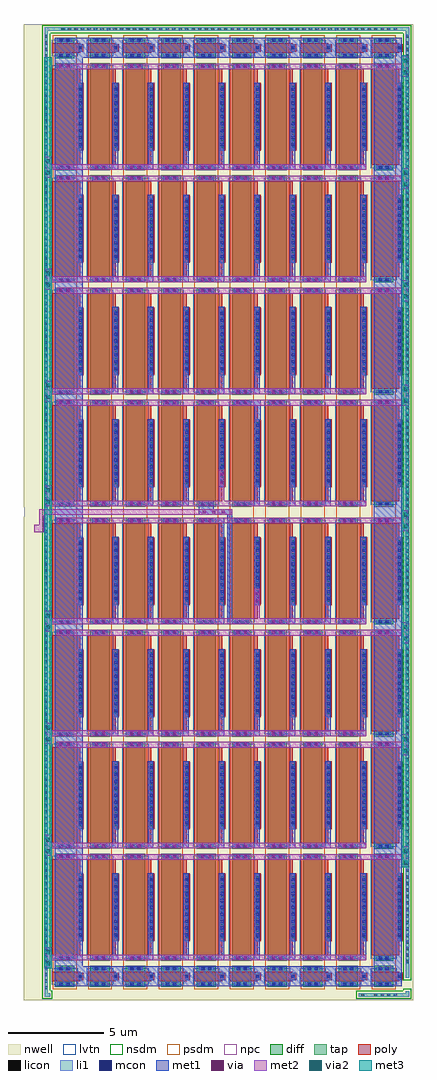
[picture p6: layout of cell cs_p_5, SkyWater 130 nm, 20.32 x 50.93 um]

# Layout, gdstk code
from math import pi, radians
import gdstk
lib = gdstk.Library(unit=1e-6, precision=1e-09)
def R(c, l, rs):  # rectangles x0, y0, x1, y1
    for r in rs: c.add(gdstk.rectangle(r[:2], r[2:], *l))
def A(c, l, x, y, w, h, nx, ny, dx, dy):  # array of equal rectangles
    R(c, l, [(x+i*dx, y+j*dy, x+i*dx+w, y+j*dy+h) for i in range(nx) for j in range(ny)])
nwell = (64, 20)
diff = (65, 20)
tap = (65, 44)
poly = (66, 20)
licon = (66, 44)
li1 = (67, 20)
mcon = (67, 44)
met1 = (68, 20)
via = (68, 44)
met2 = (69, 20)
via2 = (69, 44)
met3 = (70, 20)
nsdm = (93, 44)
psdm = (94, 20)
npc = (95, 20)
lvtn = (125, 44)

sky130_fd_pr__pfet_01v8_ = lib.new_cell('sky130_fd_pr__pfet_01v8_lvt_MTZNSY')
R(sky130_fd_pr__pfet_01v8_, nwell, [(-0.72,-0.99,0.72,0.82)])
R(sky130_fd_pr__pfet_01v8_, diff, [(-0.54,-0.68,0.54,0.32)])
R(sky130_fd_pr__pfet_01v8_, poly, [(-0.25,-0.81,0.25,0.64), (-0.2,0.64,0.2,0.805)])
R(sky130_fd_pr__pfet_01v8_, licon, [(-0.48,-0.435,-0.31,-0.265), (0.31,-0.435,0.48,-0.265), (-0.48,-0.095,-0.31,0.075), (0.31,-0.095,0.48,0.075), (-0.085,0.555,0.085,0.725)])
R(sky130_fd_pr__pfet_01v8_, li1, [(-0.48,-0.57,-0.31,0.21), (0.31,-0.57,0.48,0.21), (-0.2,0.555,0.2,0.725)])
R(sky130_fd_pr__pfet_01v8_, mcon, [(-0.48,-0.445,-0.31,-0.275), (0.31,-0.445,0.48,-0.275), (-0.48,-0.085,-0.31,0.085), (0.31,-0.085,0.48,0.085), (-0.085,0.555,0.085,0.725)])
R(sky130_fd_pr__pfet_01v8_, met1, [(-0.51,-0.55,-0.28,0.19), (0.28,-0.55,0.51,0.19), (-0.18,0.525,0.18,0.755)])
R(sky130_fd_pr__pfet_01v8_, psdm, [(-0.665,-0.805,0.665,0.445)])
R(sky130_fd_pr__pfet_01v8_, npc, [(-0.185,0.455,0.185,0.825)])
R(sky130_fd_pr__pfet_01v8_, lvtn, [(-0.43,-0.86,0.43,0.5)])

c_sky130_fd_pr__pfet_01v8_ = lib.new_cell('sky130_fd_pr__pfet_01v8_lvt_KVZN99')
R(c_sky130_fd_pr__pfet_01v8_, nwell, [(-2.97,-0.99,2.97,0.82)])
R(c_sky130_fd_pr__pfet_01v8_, diff, [(-2.79,-0.68,2.79,0.32)])
R(c_sky130_fd_pr__pfet_01v8_, poly, [(-2.5,-0.81,2.5,0.64), (-1.775,0.64,1.775,0.805)])
A(c_sky130_fd_pr__pfet_01v8_, licon, -1.615, 0.555, 0.17, 0.17, 10, 1, 0.34, 0)
R(c_sky130_fd_pr__pfet_01v8_, licon, [(-2.73,-0.435,-2.56,-0.265), (2.56,-0.435,2.73,-0.265), (-2.73,-0.095,-2.56,0.075), (2.56,-0.095,2.73,0.075)])
R(c_sky130_fd_pr__pfet_01v8_, li1, [(-2.73,-0.57,-2.56,0.21), (2.56,-0.57,2.73,0.21), (-1.775,0.555,1.775,0.725)])
A(c_sky130_fd_pr__pfet_01v8_, mcon, -1.525, 0.555, 0.17, 0.17, 9, 1, 0.36, 0)
R(c_sky130_fd_pr__pfet_01v8_, mcon, [(-2.73,-0.445,-2.56,-0.275), (2.56,-0.445,2.73,-0.275), (-2.73,-0.085,-2.56,0.085), (2.56,-0.085,2.73,0.085)])
R(c_sky130_fd_pr__pfet_01v8_, met1, [(-2.76,-0.55,-2.53,0.19), (2.53,-0.55,2.76,0.19), (-1.755,0.525,1.755,0.755)])
R(c_sky130_fd_pr__pfet_01v8_, psdm, [(-2.915,-0.805,2.915,0.445)])
R(c_sky130_fd_pr__pfet_01v8_, npc, [(-1.715,0.455,1.715,0.825)])
R(c_sky130_fd_pr__pfet_01v8_, lvtn, [(-2.68,-0.86,2.68,0.5)])

cs_p_5 = lib.new_cell('cs_p_5')
R(cs_p_5, nwell, [(-0.765,-2.065,19.55,23.15), (-0.75,23.15,19.55,23.65), (-0.765,23.65,19.55,48.865)])
R(cs_p_5, tap, [(0.315,-1.885,0.6,-1.715), (16.7,-1.885,19.335,-1.715), (0.315,-1.715,0.485,48.515), (19.165,-1.715,19.335,-1.615), (19.165,-0.905,19.335,48.515), (0.315,48.515,19.335,48.685)])
A(cs_p_5, licon, 17.51, -1.885, 0.17, 0.17, 4, 1, 0.34, 0)
A(cs_p_5, licon, 0.315, -1.505, 0.17, 0.17, 1, 72, 0, 0.34)
A(cs_p_5, licon, 19.165, -0.145, 0.17, 0.17, 1, 143, 0, 0.34)
A(cs_p_5, licon, 0.315, 23.655, 0.17, 0.17, 1, 73, 0, 0.34)
A(cs_p_5, licon, 1.19, 48.515, 0.17, 0.17, 52, 1, 0.34, 0)
R(cs_p_5, licon, [(16.83,-1.885,17,-1.715)])
R(cs_p_5, li1, [(0.315,-1.885,0.6,-1.715), (16.7,-1.885,19.335,-1.715), (0.315,-1.715,0.485,48.515), (19.165,-1.715,19.335,-1.615), (19.165,-0.905,19.335,48.515), (0.315,48.515,19.335,48.685)])
A(cs_p_5, met1, 2.7, 0, 1.45, 0.3, 8, 3, 1.85, 5.85)
A(cs_p_5, met1, 3.85, 0.3, 0.3, 4.25, 8, 3, 1.85, 5.85)
A(cs_p_5, met1, 2.8, 5.25, 0.8, 0.3, 8, 3, 1.85, 5.85)
A(cs_p_5, met1, 2.7, 17.55, 1.45, 0.3, 4, 1, 1.85, 0)
A(cs_p_5, met1, 11.95, 17.55, 1.45, 0.3, 3, 2, 1.85, 6.15)
A(cs_p_5, met1, 3.85, 17.85, 0.3, 4.25, 3, 2, 1.85, 6.15)
A(cs_p_5, met1, 13.1, 17.85, 0.3, 4.25, 3, 1, 1.85, 0)
A(cs_p_5, met1, 2.8, 22.8, 0.8, 0.3, 3, 1, 1.85, 0)
A(cs_p_5, met1, 12.05, 22.8, 0.8, 0.3, 3, 2, 1.85, 6.15)
A(cs_p_5, met1, 2.7, 23.7, 1.45, 0.3, 3, 1, 1.85, 0)
A(cs_p_5, met1, 11.25, 24, 0.3, 4.25, 4, 1, 1.85, 0)
A(cs_p_5, met1, 2.8, 28.95, 0.8, 0.3, 4, 1, 1.85, 0)
A(cs_p_5, met1, 2.7, 29.55, 1.45, 0.3, 8, 3, 1.85, 5.85)
A(cs_p_5, met1, 3.85, 29.85, 0.3, 4.25, 8, 3, 1.85, 5.85)
A(cs_p_5, met1, 2.8, 34.8, 0.8, 0.3, 8, 3, 1.85, 5.85)
R(cs_p_5, met1, [(0.85,-1.35,18.95,-0.3), (0.85,-0.3,2.3,47.1), (17.5,-0.3,18.95,47.1), (9.85,17.55,11,17.85), (9.4,17.85,9.7,22.8), (9.85,17.85,10.1,23.25), (11.25,18.55,11.55,22.1), (8.35,22.8,9.7,23.1), (10.6,22.8,11,23.1), (8.35,23.25,10.1,23.55), (8.35,23.55,9.15,24), (10.25,23.7,11.55,24), (9.4,24.7,9.7,28.25), (11.25,28.25,11.6,28.95), (10.2,28.95,11.6,29.25), (0.85,47.1,18.95,48.15)])
A(cs_p_5, via, 1.075, 5.325, 0.15, 0.15, 1, 4, 0, 5.85)
A(cs_p_5, via, 1.475, 5.325, 0.15, 0.15, 1, 4, 0, 5.85)
A(cs_p_5, via, 17.725, 5.325, 0.15, 0.15, 1, 4, 0, 5.85)
A(cs_p_5, via, 18.125, 5.325, 0.15, 0.15, 1, 4, 0, 5.85)
A(cs_p_5, via, 8.575, 23.325, 0.15, 0.15, 3, 1, 0.5, 0)
A(cs_p_5, via, 1.075, 29.025, 0.15, 0.15, 1, 4, 0, 5.85)
A(cs_p_5, via, 1.475, 29.025, 0.15, 0.15, 1, 4, 0, 5.85)
A(cs_p_5, via, 17.725, 29.025, 0.15, 0.15, 1, 4, 0, 5.85)
A(cs_p_5, via, 18.125, 29.025, 0.15, 0.15, 1, 4, 0, 5.85)
R(cs_p_5, via, [(2.925,0.075,3.075,0.225), (3.325,0.075,3.475,0.225), (4.775,0.075,4.925,0.225), (5.175,0.075,5.325,0.225), (6.625,0.075,6.775,0.225), (7.025,0.075,7.175,0.225), (8.475,0.075,8.625,0.225), (8.875,0.075,9.025,0.225), (10.325,0.075,10.475,0.225), (10.725,0.075,10.875,0.225), (12.175,0.075,12.325,0.225), (12.575,0.075,12.725,0.225), (14.025,0.075,14.175,0.225), (14.425,0.075,14.575,0.225), (15.875,0.075,16.025,0.225), (16.275,0.075,16.425,0.225), (2.925,5.325,3.075,5.475), (3.325,5.325,3.475,5.475), (4.775,5.325,4.925,5.475), (5.175,5.325,5.325,5.475), (6.625,5.325,6.775,5.475), (7.025,5.325,7.175,5.475), (8.475,5.325,8.625,5.475), (8.875,5.325,9.025,5.475), (10.325,5.325,10.475,5.475), (10.725,5.325,10.875,5.475), (12.175,5.325,12.325,5.475), (12.575,5.325,12.725,5.475), (14.025,5.325,14.175,5.475), (14.425,5.325,14.575,5.475), (15.875,5.325,16.025,5.475), (16.275,5.325,16.425,5.475), (2.925,5.925,3.075,6.075), (3.325,5.925,3.475,6.075), (4.775,5.925,4.925,6.075), (5.175,5.925,5.325,6.075), (6.625,5.925,6.775,6.075), (7.025,5.925,7.175,6.075), (8.475,5.925,8.625,6.075), (8.875,5.925,9.025,6.075), (10.325,5.925,10.475,6.075), (10.725,5.925,10.875,6.075), (12.175,5.925,12.325,6.075), (12.575,5.925,12.725,6.075), (14.025,5.925,14.175,6.075), (14.425,5.925,14.575,6.075), (15.875,5.925,16.025,6.075), (16.275,5.925,16.425,6.075), (2.925,11.175,3.075,11.325), (3.325,11.175,3.475,11.325), (4.775,11.175,4.925,11.325), (5.175,11.175,5.325,11.325), (6.625,11.175,6.775,11.325), (7.025,11.175,7.175,11.325), (8.475,11.175,8.625,11.325), (8.875,11.175,9.025,11.325), (10.325,11.175,10.475,11.325), (10.725,11.175,10.875,11.325), (12.175,11.175,12.325,11.325), (12.575,11.175,12.725,11.325), (14.025,11.175,14.175,11.325), (14.425,11.175,14.575,11.325), (15.875,11.175,16.025,11.325), (16.275,11.175,16.425,11.325), (2.925,11.775,3.075,11.925), (3.325,11.775,3.475,11.925), (4.775,11.775,4.925,11.925), (5.175,11.775,5.325,11.925), (6.625,11.775,6.775,11.925), (7.025,11.775,7.175,11.925), (8.475,11.775,8.625,11.925), (8.875,11.775,9.025,11.925), (10.325,11.775,10.475,11.925), (10.725,11.775,10.875,11.925), (12.175,11.775,12.325,11.925), (12.575,11.775,12.725,11.925), (14.025,11.775,14.175,11.925), (14.425,11.775,14.575,11.925), (15.875,11.775,16.025,11.925), (16.275,11.775,16.425,11.925), (2.925,17.025,3.075,17.175), (3.325,17.025,3.475,17.175), (4.775,17.025,4.925,17.175), (5.175,17.025,5.325,17.175), (6.625,17.025,6.775,17.175), (7.025,17.025,7.175,17.175), (8.475,17.025,8.625,17.175), (8.875,17.025,9.025,17.175), (10.325,17.025,10.475,17.175), (10.725,17.025,10.875,17.175), (12.175,17.025,12.325,17.175), (12.575,17.025,12.725,17.175), (14.025,17.025,14.175,17.175), (14.425,17.025,14.575,17.175), (15.875,17.025,16.025,17.175), (16.275,17.025,16.425,17.175), (2.925,17.625,3.075,17.775), (3.325,17.625,3.475,17.775), (4.775,17.625,4.925,17.775), (5.175,17.625,5.325,17.775), (6.625,17.625,6.775,17.775), (7.025,17.625,7.175,17.775), (12.175,17.625,12.325,17.775), (12.575,17.625,12.725,17.775), (14.025,17.625,14.175,17.775), (14.425,17.625,14.575,17.775), (15.875,17.625,16.025,17.775), (16.275,17.625,16.425,17.775), (11.325,18.675,11.475,18.825), (11.325,19.075,11.475,19.225), (2.925,22.875,3.075,23.025), (3.325,22.875,3.475,23.025), (4.775,22.875,4.925,23.025), (5.175,22.875,5.325,23.025), (6.625,22.875,6.775,23.025), (7.025,22.875,7.175,23.025), (8.475,22.875,8.625,23.025), (8.875,22.875,9.025,23.025), (10.725,22.875,10.875,23.025), (12.175,22.875,12.325,23.025), (12.575,22.875,12.725,23.025), (14.025,22.875,14.175,23.025), (14.425,22.875,14.575,23.025), (15.875,22.875,16.025,23.025), (16.275,22.875,16.425,23.025), (2.925,23.775,3.075,23.925), (3.325,23.775,3.475,23.925), (4.775,23.775,4.925,23.925), (5.175,23.775,5.325,23.925), (6.625,23.775,6.775,23.925), (7.025,23.775,7.175,23.925), (12.175,23.775,12.325,23.925), (12.575,23.775,12.725,23.925), (14.025,23.775,14.175,23.925), (14.425,23.775,14.575,23.925), (15.875,23.775,16.025,23.925), (16.275,23.775,16.425,23.925), (9.475,24.85,9.625,25), (9.475,25.3,9.625,25.45), (2.925,29.025,3.075,29.175), (3.325,29.025,3.475,29.175), (4.775,29.025,4.925,29.175), (5.175,29.025,5.325,29.175), (6.625,29.025,6.775,29.175), (7.025,29.025,7.175,29.175), (8.475,29.025,8.625,29.175), (8.875,29.025,9.025,29.175), (10.325,29.025,10.475,29.175), (10.725,29.025,10.875,29.175), (12.175,29.025,12.325,29.175), (12.575,29.025,12.725,29.175), (14.025,29.025,14.175,29.175), (14.425,29.025,14.575,29.175), (15.875,29.025,16.025,29.175), (16.275,29.025,16.425,29.175), (2.925,29.625,3.075,29.775), (3.325,29.625,3.475,29.775), (4.775,29.625,4.925,29.775), (5.175,29.625,5.325,29.775), (6.625,29.625,6.775,29.775), (7.025,29.625,7.175,29.775), (8.475,29.625,8.625,29.775), (8.875,29.625,9.025,29.775), (10.325,29.625,10.475,29.775), (10.725,29.625,10.875,29.775), (12.175,29.625,12.325,29.775), (12.575,29.625,12.725,29.775), (14.025,29.625,14.175,29.775), (14.425,29.625,14.575,29.775), (15.875,29.625,16.025,29.775), (16.275,29.625,16.425,29.775), (2.925,34.875,3.075,35.025), (3.325,34.875,3.475,35.025), (4.775,34.875,4.925,35.025), (5.175,34.875,5.325,35.025), (6.625,34.875,6.775,35.025), (7.025,34.875,7.175,35.025), (8.475,34.875,8.625,35.025), (8.875,34.875,9.025,35.025), (10.325,34.875,10.475,35.025), (10.725,34.875,10.875,35.025), (12.175,34.875,12.325,35.025), (12.575,34.875,12.725,35.025), (14.025,34.875,14.175,35.025), (14.425,34.875,14.575,35.025), (15.875,34.875,16.025,35.025), (16.275,34.875,16.425,35.025), (2.925,35.475,3.075,35.625), (3.325,35.475,3.475,35.625), (4.775,35.475,4.925,35.625), (5.175,35.475,5.325,35.625), (6.625,35.475,6.775,35.625), (7.025,35.475,7.175,35.625), (8.475,35.475,8.625,35.625), (8.875,35.475,9.025,35.625), (10.325,35.475,10.475,35.625), (10.725,35.475,10.875,35.625), (12.175,35.475,12.325,35.625), (12.575,35.475,12.725,35.625), (14.025,35.475,14.175,35.625), (14.425,35.475,14.575,35.625), (15.875,35.475,16.025,35.625), (16.275,35.475,16.425,35.625), (2.925,40.725,3.075,40.875), (3.325,40.725,3.475,40.875), (4.775,40.725,4.925,40.875), (5.175,40.725,5.325,40.875), (6.625,40.725,6.775,40.875), (7.025,40.725,7.175,40.875), (8.475,40.725,8.625,40.875), (8.875,40.725,9.025,40.875), (10.325,40.725,10.475,40.875), (10.725,40.725,10.875,40.875), (12.175,40.725,12.325,40.875), (12.575,40.725,12.725,40.875), (14.025,40.725,14.175,40.875), (14.425,40.725,14.575,40.875), (15.875,40.725,16.025,40.875), (16.275,40.725,16.425,40.875), (2.925,41.325,3.075,41.475), (3.325,41.325,3.475,41.475), (4.775,41.325,4.925,41.475), (5.175,41.325,5.325,41.475), (6.625,41.325,6.775,41.475), (7.025,41.325,7.175,41.475), (8.475,41.325,8.625,41.475), (8.875,41.325,9.025,41.475), (10.325,41.325,10.475,41.475), (10.725,41.325,10.875,41.475), (12.175,41.325,12.325,41.475), (12.575,41.325,12.725,41.475), (14.025,41.325,14.175,41.475), (14.425,41.325,14.575,41.475), (15.875,41.325,16.025,41.475), (16.275,41.325,16.425,41.475), (2.925,46.575,3.075,46.725), (3.325,46.575,3.475,46.725), (4.775,46.575,4.925,46.725), (5.175,46.575,5.325,46.725), (6.625,46.575,6.775,46.725), (7.025,46.575,7.175,46.725), (8.475,46.575,8.625,46.725), (8.875,46.575,9.025,46.725), (10.325,46.575,10.475,46.725), (10.725,46.575,10.875,46.725), (12.175,46.575,12.325,46.725), (12.575,46.575,12.725,46.725), (14.025,46.575,14.175,46.725), (14.425,46.575,14.575,46.725), (15.875,46.575,16.025,46.725), (16.275,46.575,16.425,46.725)])
A(cs_p_5, met2, 0.3, 0, 16.8, 0.3, 1, 4, 0, 5.85)
A(cs_p_5, met2, 0.95, 5.25, 18.4, 0.3, 1, 4, 0, 5.85)
A(cs_p_5, met2, 0.3, 23.7, 16.8, 0.3, 1, 4, 0, 5.85)
A(cs_p_5, met2, 0.95, 28.95, 18.4, 0.3, 1, 4, 0, 5.85)
R(cs_p_5, met2, [(0.3,-0.4,0.7,0), (0.3,0.3,0.7,0.7), (18.95,4.85,19.35,5.25), (0.3,5.45,0.7,5.85), (18.95,5.55,19.35,5.95), (0.3,6.15,0.7,6.55), (18.95,10.7,19.35,11.1), (0.3,11.3,0.7,11.7), (18.95,11.4,19.35,11.8), (0.3,12,0.7,12.4), (18.95,16.55,19.35,16.95), (0.3,17.15,0.7,17.55), (18.95,17.25,19.35,17.65), (0.3,17.85,0.7,18.25), (11.25,17.85,11.55,19.4), (-0.215,22.335,0.285,22.735), (18.95,22.4,19.35,22.8), (0.035,22.735,0.285,23.25), (18.95,23.1,19.35,23.5), (0.035,23.25,10.1,23.55), (0.3,24,0.7,24.8), (9.4,24,9.7,25.6), (0.3,29.15,0.7,29.55), (18.95,29.25,19.35,30.05), (0.3,29.85,0.7,30.25), (18.95,34.4,19.35,34.8), (0.3,35,0.7,35.4), (18.95,35.1,19.35,35.5), (0.3,35.7,0.7,36.1), (18.95,40.25,19.35,40.65), (0.3,40.85,0.7,41.25), (18.95,40.95,19.35,41.35), (0.3,41.55,0.7,41.95), (18.95,46.1,19.35,46.5), (18.95,46.8,19.35,47.2)])
R(cs_p_5, via2, [(0.4,-0.25,0.6,-0.05), (0.4,0.35,0.6,0.55), (19.05,5,19.25,5.2), (0.4,5.6,0.6,5.8), (19.05,5.6,19.25,5.8), (0.4,6.2,0.6,6.4), (19.05,10.85,19.25,11.05), (0.4,11.45,0.6,11.65), (19.05,11.45,19.25,11.65), (0.4,12.05,0.6,12.25), (19.05,16.7,19.25,16.9), (0.4,17.3,0.6,17.5), (19.05,17.3,19.25,17.5), (0.4,17.9,0.6,18.1), (19.05,22.55,19.25,22.75), (19.05,23.15,19.25,23.35), (0.4,23.85,0.6,24.05), (0.4,24.45,0.6,24.65), (19.05,29.1,19.25,29.3), (0.4,29.3,0.6,29.5), (19.05,29.7,19.25,29.9), (0.4,29.9,0.6,30.1), (19.05,34.55,19.25,34.75), (0.4,35.15,0.6,35.35), (19.05,35.15,19.25,35.35), (0.4,35.75,0.6,35.95), (19.05,40.4,19.25,40.6), (0.4,41,0.6,41.2), (19.05,41,19.25,41.2), (0.4,41.6,0.6,41.8), (19.05,46.25,19.25,46.45), (19.05,46.85,19.25,47.05)])
R(cs_p_5, met3, [(0.3,-0.4,0.7,47.135), (18.95,4.85,19.35,47.235)])
R(cs_p_5, nsdm, [(0.19,-2.01,0.725,-1.59), (16.575,-2.01,19.46,-1.59), (0.19,-1.59,0.61,48.39), (19.04,-1.59,19.46,-1.49), (19.04,-1.03,19.46,48.39), (0.19,48.39,19.46,48.81)])
A(cs_p_5, psdm, 0.735, -0.165, 1.25, 0.02, 10, 4, 1.85, 5.85)
A(cs_p_5, psdm, 0.735, 23.235, 1.25, 0.32, 10, 1, 1.85, 0)
A(cs_p_5, psdm, 0.735, 29.385, 1.25, 0.02, 10, 4, 1.85, 5.85)
cs_p_5.add(gdstk.Reference(sky130_fd_pr__pfet_01v8_, (1.54,-0.83), rotation=pi/2, x_reflection=True))
cs_p_5.add(gdstk.Reference(c_sky130_fd_pr__pfet_01v8_, (1.54,2.77), rotation=pi/2, x_reflection=True))
cs_p_5.add(gdstk.Reference(sky130_fd_pr__pfet_01v8_, (3.39,-0.83), rotation=pi/2, x_reflection=True))
cs_p_5.add(gdstk.Reference(c_sky130_fd_pr__pfet_01v8_, (3.39,2.77), rotation=pi/2, x_reflection=True))
cs_p_5.add(gdstk.Reference(sky130_fd_pr__pfet_01v8_, (5.24,-0.83), rotation=pi/2, x_reflection=True))
cs_p_5.add(gdstk.Reference(c_sky130_fd_pr__pfet_01v8_, (5.24,2.77), rotation=pi/2, x_reflection=True))
cs_p_5.add(gdstk.Reference(sky130_fd_pr__pfet_01v8_, (7.09,-0.83), rotation=pi/2, x_reflection=True))
cs_p_5.add(gdstk.Reference(c_sky130_fd_pr__pfet_01v8_, (7.09,2.77), rotation=pi/2, x_reflection=True))
cs_p_5.add(gdstk.Reference(sky130_fd_pr__pfet_01v8_, (8.94,-0.83), rotation=pi/2, x_reflection=True))
cs_p_5.add(gdstk.Reference(c_sky130_fd_pr__pfet_01v8_, (8.94,2.77), rotation=pi/2, x_reflection=True))
cs_p_5.add(gdstk.Reference(sky130_fd_pr__pfet_01v8_, (10.79,-0.83), rotation=pi/2, x_reflection=True))
cs_p_5.add(gdstk.Reference(c_sky130_fd_pr__pfet_01v8_, (10.79,2.77), rotation=pi/2, x_reflection=True))
cs_p_5.add(gdstk.Reference(sky130_fd_pr__pfet_01v8_, (12.64,-0.83), rotation=pi/2, x_reflection=True))
cs_p_5.add(gdstk.Reference(c_sky130_fd_pr__pfet_01v8_, (12.64,2.77), rotation=pi/2, x_reflection=True))
cs_p_5.add(gdstk.Reference(sky130_fd_pr__pfet_01v8_, (14.49,-0.83), rotation=pi/2, x_reflection=True))
cs_p_5.add(gdstk.Reference(c_sky130_fd_pr__pfet_01v8_, (14.49,2.77), rotation=pi/2, x_reflection=True))
cs_p_5.add(gdstk.Reference(sky130_fd_pr__pfet_01v8_, (16.34,-0.83), rotation=pi/2, x_reflection=True))
cs_p_5.add(gdstk.Reference(c_sky130_fd_pr__pfet_01v8_, (16.34,2.77), rotation=pi/2, x_reflection=True))
cs_p_5.add(gdstk.Reference(sky130_fd_pr__pfet_01v8_, (18.19,-0.83), rotation=pi/2, x_reflection=True))
cs_p_5.add(gdstk.Reference(c_sky130_fd_pr__pfet_01v8_, (18.19,2.77), rotation=pi/2, x_reflection=True))
cs_p_5.add(gdstk.Reference(c_sky130_fd_pr__pfet_01v8_, (1.54,8.62), rotation=pi/2, x_reflection=True))
cs_p_5.add(gdstk.Reference(c_sky130_fd_pr__pfet_01v8_, (3.39,8.62), rotation=pi/2, x_reflection=True))
cs_p_5.add(gdstk.Reference(c_sky130_fd_pr__pfet_01v8_, (5.24,8.62), rotation=pi/2, x_reflection=True))
cs_p_5.add(gdstk.Reference(c_sky130_fd_pr__pfet_01v8_, (7.09,8.62), rotation=pi/2, x_reflection=True))
cs_p_5.add(gdstk.Reference(c_sky130_fd_pr__pfet_01v8_, (8.94,8.62), rotation=pi/2, x_reflection=True))
cs_p_5.add(gdstk.Reference(c_sky130_fd_pr__pfet_01v8_, (10.79,8.62), rotation=pi/2, x_reflection=True))
cs_p_5.add(gdstk.Reference(c_sky130_fd_pr__pfet_01v8_, (12.64,8.62), rotation=pi/2, x_reflection=True))
cs_p_5.add(gdstk.Reference(c_sky130_fd_pr__pfet_01v8_, (14.49,8.62), rotation=pi/2, x_reflection=True))
cs_p_5.add(gdstk.Reference(c_sky130_fd_pr__pfet_01v8_, (16.34,8.62), rotation=pi/2, x_reflection=True))
cs_p_5.add(gdstk.Reference(c_sky130_fd_pr__pfet_01v8_, (18.19,8.62), rotation=pi/2, x_reflection=True))
cs_p_5.add(gdstk.Reference(c_sky130_fd_pr__pfet_01v8_, (1.54,14.47), rotation=pi/2, x_reflection=True))
cs_p_5.add(gdstk.Reference(c_sky130_fd_pr__pfet_01v8_, (3.39,14.47), rotation=pi/2, x_reflection=True))
cs_p_5.add(gdstk.Reference(c_sky130_fd_pr__pfet_01v8_, (5.24,14.47), rotation=pi/2, x_reflection=True))
cs_p_5.add(gdstk.Reference(c_sky130_fd_pr__pfet_01v8_, (7.09,14.47), rotation=pi/2, x_reflection=True))
cs_p_5.add(gdstk.Reference(c_sky130_fd_pr__pfet_01v8_, (8.94,14.47), rotation=pi/2, x_reflection=True))
cs_p_5.add(gdstk.Reference(c_sky130_fd_pr__pfet_01v8_, (10.79,14.47), rotation=pi/2, x_reflection=True))
cs_p_5.add(gdstk.Reference(c_sky130_fd_pr__pfet_01v8_, (12.64,14.47), rotation=pi/2, x_reflection=True))
cs_p_5.add(gdstk.Reference(c_sky130_fd_pr__pfet_01v8_, (14.49,14.47), rotation=pi/2, x_reflection=True))
cs_p_5.add(gdstk.Reference(c_sky130_fd_pr__pfet_01v8_, (16.34,14.47), rotation=pi/2, x_reflection=True))
cs_p_5.add(gdstk.Reference(c_sky130_fd_pr__pfet_01v8_, (18.19,14.47), rotation=pi/2, x_reflection=True))
cs_p_5.add(gdstk.Reference(c_sky130_fd_pr__pfet_01v8_, (1.54,20.32), rotation=pi/2, x_reflection=True))
cs_p_5.add(gdstk.Reference(c_sky130_fd_pr__pfet_01v8_, (3.39,20.32), rotation=pi/2, x_reflection=True))
cs_p_5.add(gdstk.Reference(c_sky130_fd_pr__pfet_01v8_, (5.24,20.32), rotation=pi/2, x_reflection=True))
cs_p_5.add(gdstk.Reference(c_sky130_fd_pr__pfet_01v8_, (7.09,20.32), rotation=pi/2, x_reflection=True))
cs_p_5.add(gdstk.Reference(c_sky130_fd_pr__pfet_01v8_, (8.94,20.32), rotation=pi/2, x_reflection=True))
cs_p_5.add(gdstk.Reference(c_sky130_fd_pr__pfet_01v8_, (10.79,20.32), rotation=pi/2, x_reflection=True))
cs_p_5.add(gdstk.Reference(c_sky130_fd_pr__pfet_01v8_, (12.64,20.32), rotation=pi/2, x_reflection=True))
cs_p_5.add(gdstk.Reference(c_sky130_fd_pr__pfet_01v8_, (14.49,20.32), rotation=pi/2, x_reflection=True))
cs_p_5.add(gdstk.Reference(c_sky130_fd_pr__pfet_01v8_, (16.34,20.32), rotation=pi/2, x_reflection=True))
cs_p_5.add(gdstk.Reference(c_sky130_fd_pr__pfet_01v8_, (18.19,20.32), rotation=pi/2, x_reflection=True))
cs_p_5.add(gdstk.Reference(c_sky130_fd_pr__pfet_01v8_, (1.54,26.47), rotation=pi/2, x_reflection=True))
cs_p_5.add(gdstk.Reference(c_sky130_fd_pr__pfet_01v8_, (3.39,26.47), rotation=pi/2, x_reflection=True))
cs_p_5.add(gdstk.Reference(c_sky130_fd_pr__pfet_01v8_, (5.24,26.47), rotation=pi/2, x_reflection=True))
cs_p_5.add(gdstk.Reference(c_sky130_fd_pr__pfet_01v8_, (7.09,26.47), rotation=pi/2, x_reflection=True))
cs_p_5.add(gdstk.Reference(c_sky130_fd_pr__pfet_01v8_, (8.94,26.47), rotation=pi/2, x_reflection=True))
cs_p_5.add(gdstk.Reference(c_sky130_fd_pr__pfet_01v8_, (10.79,26.47), rotation=pi/2, x_reflection=True))
cs_p_5.add(gdstk.Reference(c_sky130_fd_pr__pfet_01v8_, (12.64,26.47), rotation=pi/2, x_reflection=True))
cs_p_5.add(gdstk.Reference(c_sky130_fd_pr__pfet_01v8_, (14.49,26.47), rotation=pi/2, x_reflection=True))
cs_p_5.add(gdstk.Reference(c_sky130_fd_pr__pfet_01v8_, (16.34,26.47), rotation=pi/2, x_reflection=True))
cs_p_5.add(gdstk.Reference(c_sky130_fd_pr__pfet_01v8_, (18.19,26.47), rotation=pi/2, x_reflection=True))
cs_p_5.add(gdstk.Reference(c_sky130_fd_pr__pfet_01v8_, (1.54,32.32), rotation=pi/2, x_reflection=True))
cs_p_5.add(gdstk.Reference(c_sky130_fd_pr__pfet_01v8_, (3.39,32.32), rotation=pi/2, x_reflection=True))
cs_p_5.add(gdstk.Reference(c_sky130_fd_pr__pfet_01v8_, (5.24,32.32), rotation=pi/2, x_reflection=True))
cs_p_5.add(gdstk.Reference(c_sky130_fd_pr__pfet_01v8_, (7.09,32.32), rotation=pi/2, x_reflection=True))
cs_p_5.add(gdstk.Reference(c_sky130_fd_pr__pfet_01v8_, (8.94,32.32), rotation=pi/2, x_reflection=True))
cs_p_5.add(gdstk.Reference(c_sky130_fd_pr__pfet_01v8_, (10.79,32.32), rotation=pi/2, x_reflection=True))
cs_p_5.add(gdstk.Reference(c_sky130_fd_pr__pfet_01v8_, (12.64,32.32), rotation=pi/2, x_reflection=True))
cs_p_5.add(gdstk.Reference(c_sky130_fd_pr__pfet_01v8_, (14.49,32.32), rotation=pi/2, x_reflection=True))
cs_p_5.add(gdstk.Reference(c_sky130_fd_pr__pfet_01v8_, (16.34,32.32), rotation=pi/2, x_reflection=True))
cs_p_5.add(gdstk.Reference(c_sky130_fd_pr__pfet_01v8_, (18.19,32.32), rotation=pi/2, x_reflection=True))
cs_p_5.add(gdstk.Reference(c_sky130_fd_pr__pfet_01v8_, (1.54,38.17), rotation=pi/2, x_reflection=True))
cs_p_5.add(gdstk.Reference(c_sky130_fd_pr__pfet_01v8_, (3.39,38.17), rotation=pi/2, x_reflection=True))
cs_p_5.add(gdstk.Reference(c_sky130_fd_pr__pfet_01v8_, (5.24,38.17), rotation=pi/2, x_reflection=True))
cs_p_5.add(gdstk.Reference(c_sky130_fd_pr__pfet_01v8_, (7.09,38.17), rotation=pi/2, x_reflection=True))
cs_p_5.add(gdstk.Reference(c_sky130_fd_pr__pfet_01v8_, (8.94,38.17), rotation=pi/2, x_reflection=True))
cs_p_5.add(gdstk.Reference(c_sky130_fd_pr__pfet_01v8_, (10.79,38.17), rotation=pi/2, x_reflection=True))
cs_p_5.add(gdstk.Reference(c_sky130_fd_pr__pfet_01v8_, (12.64,38.17), rotation=pi/2, x_reflection=True))
cs_p_5.add(gdstk.Reference(c_sky130_fd_pr__pfet_01v8_, (14.49,38.17), rotation=pi/2, x_reflection=True))
cs_p_5.add(gdstk.Reference(c_sky130_fd_pr__pfet_01v8_, (16.34,38.17), rotation=pi/2, x_reflection=True))
cs_p_5.add(gdstk.Reference(c_sky130_fd_pr__pfet_01v8_, (18.19,38.17), rotation=pi/2, x_reflection=True))
cs_p_5.add(gdstk.Reference(c_sky130_fd_pr__pfet_01v8_, (1.54,44.02), rotation=pi/2, x_reflection=True))
cs_p_5.add(gdstk.Reference(c_sky130_fd_pr__pfet_01v8_, (3.39,44.02), rotation=pi/2, x_reflection=True))
cs_p_5.add(gdstk.Reference(c_sky130_fd_pr__pfet_01v8_, (5.24,44.02), rotation=pi/2, x_reflection=True))
cs_p_5.add(gdstk.Reference(c_sky130_fd_pr__pfet_01v8_, (7.09,44.02), rotation=pi/2, x_reflection=True))
cs_p_5.add(gdstk.Reference(c_sky130_fd_pr__pfet_01v8_, (8.94,44.02), rotation=pi/2, x_reflection=True))
cs_p_5.add(gdstk.Reference(c_sky130_fd_pr__pfet_01v8_, (10.79,44.02), rotation=pi/2, x_reflection=True))
cs_p_5.add(gdstk.Reference(c_sky130_fd_pr__pfet_01v8_, (12.64,44.02), rotation=pi/2, x_reflection=True))
cs_p_5.add(gdstk.Reference(c_sky130_fd_pr__pfet_01v8_, (14.49,44.02), rotation=pi/2, x_reflection=True))
cs_p_5.add(gdstk.Reference(c_sky130_fd_pr__pfet_01v8_, (16.34,44.02), rotation=pi/2, x_reflection=True))
cs_p_5.add(gdstk.Reference(c_sky130_fd_pr__pfet_01v8_, (18.19,44.02), rotation=pi/2, x_reflection=True))
cs_p_5.add(gdstk.Reference(sky130_fd_pr__pfet_01v8_, (1.54,47.62), rotation=pi/2, x_reflection=True))
cs_p_5.add(gdstk.Reference(sky130_fd_pr__pfet_01v8_, (3.39,47.62), rotation=pi/2, x_reflection=True))
cs_p_5.add(gdstk.Reference(sky130_fd_pr__pfet_01v8_, (5.24,47.62), rotation=pi/2, x_reflection=True))
cs_p_5.add(gdstk.Reference(sky130_fd_pr__pfet_01v8_, (7.09,47.62), rotation=pi/2, x_reflection=True))
cs_p_5.add(gdstk.Reference(sky130_fd_pr__pfet_01v8_, (8.94,47.62), rotation=pi/2, x_reflection=True))
cs_p_5.add(gdstk.Reference(sky130_fd_pr__pfet_01v8_, (10.79,47.62), rotation=pi/2, x_reflection=True))
cs_p_5.add(gdstk.Reference(sky130_fd_pr__pfet_01v8_, (12.64,47.62), rotation=pi/2, x_reflection=True))
cs_p_5.add(gdstk.Reference(sky130_fd_pr__pfet_01v8_, (14.49,47.62), rotation=pi/2, x_reflection=True))
cs_p_5.add(gdstk.Reference(sky130_fd_pr__pfet_01v8_, (16.34,47.62), rotation=pi/2, x_reflection=True))
cs_p_5.add(gdstk.Reference(sky130_fd_pr__pfet_01v8_, (18.19,47.62), rotation=pi/2, x_reflection=True))

lib.write_gds('cs_p_5.gds')
